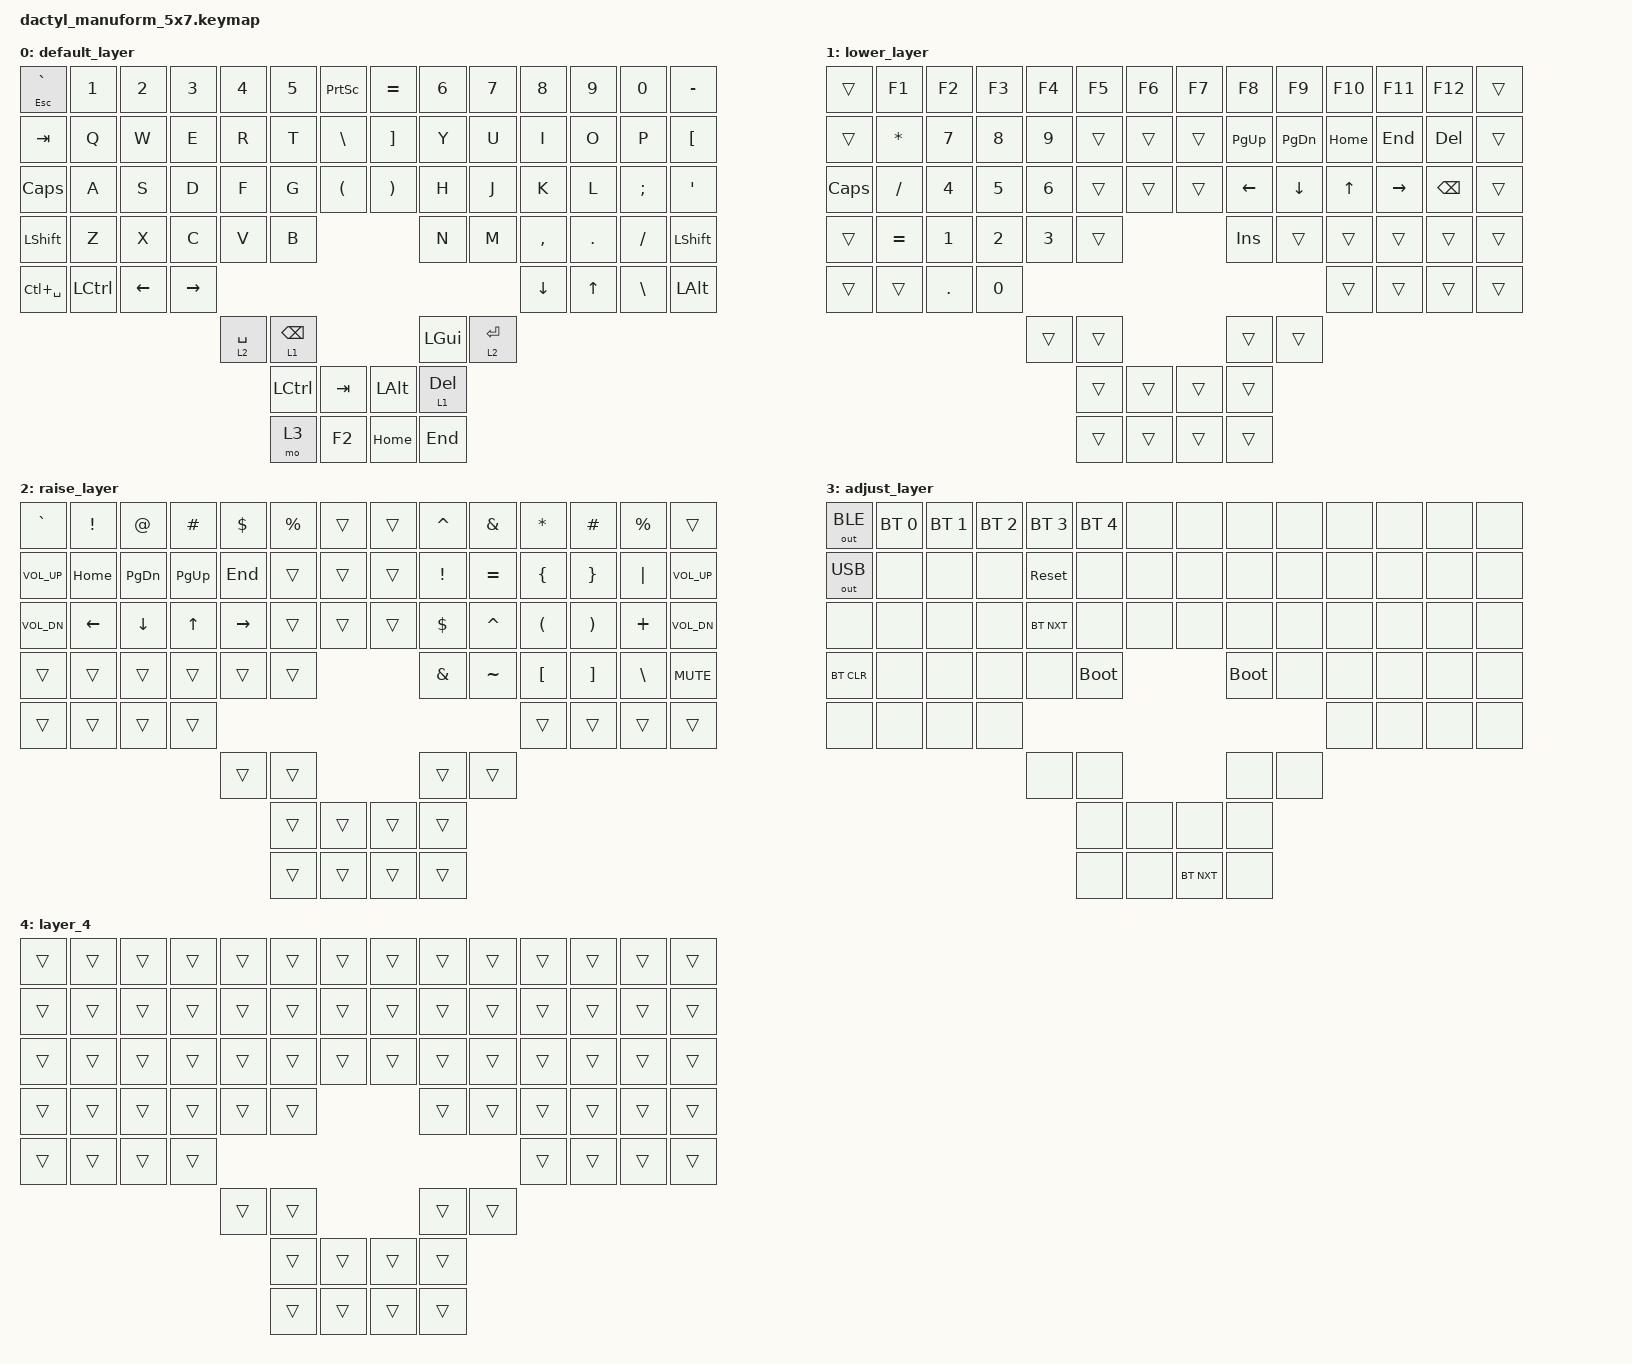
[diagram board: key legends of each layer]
#include <behaviors.dtsi>
#include <dt-bindings/zmk/bt.h>
#include <dt-bindings/zmk/keys.h>
#include <dt-bindings/zmk/outputs.h>

#define DEFAULT 0
#define LWR 1
#define RSE 2
#define ADJ 3

/ {
    behaviors {
        hr: hr {
            compatible = "zmk,behavior-hold-tap";
            label = "HR";
            bindings = <&kp>, <&kp>;

            #binding-cells = <2>;
            flavor = "balanced";
            quick-tap-ms = <0>;
            hold-trigger-key-positions = <29 30 31 32 40 39 38 37>;
            tapping-term-ms = <200>;
        };
    };

    keymap {
        compatible = "zmk,keymap";

        default_layer {
            bindings = <
&mt ESCAPE GRAVE  &kp N1     &kp N2          &kp N3           &kp N4       &kp N5           &kp PRINTSCREEN  &kp EQUAL     &kp N6        &kp N7       &kp N8          &kp N9        &kp N0         &kp MINUS
&kp TAB           &kp Q      &kp W           &kp E            &kp R        &kp T            &kp BACKSLASH    &kp RBKT      &kp Y         &kp U        &kp I           &kp O         &kp P          &kp LEFT_BRACKET
&kp CAPSLOCK      &kp A      &kp S           &kp D            &kp F        &kp G            &kp LPAR         &kp RPAR      &kp H         &kp J        &kp K           &kp L         &kp SEMICOLON  &kp SQT
&kp LEFT_SHIFT    &kp Z      &kp X           &kp C            &kp V        &kp B                                           &kp N         &kp M        &kp COMMA       &kp DOT       &kp FSLH       &kp LEFT_SHIFT
&kp LC(SPACE)     &kp LCTRL  &kp LEFT_ARROW  &kp RIGHT_ARROW                                                                                          &kp DOWN_ARROW  &kp UP_ARROW  &kp BACKSLASH  &kp LEFT_ALT
                                                              &lt 2 SPACE  &lt 1 BACKSPACE                                 &kp LEFT_GUI  &lt 2 ENTER
                                                                           &kp LCTRL        &kp TAB          &kp LEFT_ALT  &lt 1 DEL
                                                                           &mo 3            &kp F2           &kp HOME      &kp END
            >;
        };

        lower_layer {
            bindings = <
&trans    &kp F1        &kp F2        &kp F3        &kp F4        &kp F5  &kp F6  &kp F7  &kp F8     &kp F9         &kp F10   &kp F11    &kp F12   &trans
&trans    &kp ASTERISK  &kp NUMBER_7  &kp NUMBER_8  &kp NUMBER_9  &trans  &trans  &trans  &kp PG_UP  &kp PAGE_DOWN  &kp HOME  &kp END    &kp DEL   &trans
&kp CAPS  &kp SLASH     &kp NUMBER_4  &kp NUMBER_5  &kp NUMBER_6  &trans  &trans  &trans  &kp LEFT   &kp DOWN       &kp UP    &kp RIGHT  &kp BSPC  &trans
&trans    &kp EQUAL     &kp NUMBER_1  &kp NUMBER_2  &kp NUMBER_3  &trans                  &kp INS    &trans         &trans    &trans     &trans    &trans
&trans    &trans        &kp DOT       &kp N0                                                                        &trans    &trans     &trans    &trans
                                                    &trans        &trans                  &trans     &trans
                                                                  &trans  &trans  &trans  &trans
                                                                  &trans  &trans  &trans  &trans
            >;
        };

        raise_layer {
            bindings = <
&kp GRAVE     &kp EXCL  &kp AT     &kp HASH   &kp DLLR   &kp PRCNT  &trans  &trans  &kp CARET        &kp AMPS   &kp ASTRK             &kp HASH               &kp PERCENT    &trans
&kp K_VOL_UP  &kp HOME  &kp PG_DN  &kp PG_UP  &kp END    &trans     &trans  &trans  &kp EXCLAMATION  &kp EQUAL  &kp LEFT_BRACE        &kp RIGHT_BRACE        &kp PIPE       &kp K_VOL_UP
&kp K_VOL_DN  &kp LEFT  &kp DOWN   &kp UP     &kp RIGHT  &trans     &trans  &trans  &kp DOLLAR       &kp CARET  &kp LEFT_PARENTHESIS  &kp RIGHT_PARENTHESIS  &kp PLUS       &kp K_VOL_DN
&trans        &trans    &trans     &trans     &trans     &trans                     &kp AMPERSAND    &kp TILDE  &kp LEFT_BRACKET      &kp RIGHT_BRACKET      &kp BACKSLASH  &kp K_MUTE
&trans        &trans    &trans     &trans                                                                       &trans                &trans                 &trans         &trans
                                              &trans     &trans                     &trans           &trans
                                                         &trans     &trans  &trans  &trans
                                                         &trans     &trans  &trans  &trans
            >;
        };

        adjust_layer {
            bindings = <
&out OUT_BLE  &bt BT_SEL 0  &bt BT_SEL 1  &bt BT_SEL 2  &bt BT_SEL 3  &bt BT_SEL 4  &none  &none       &none        &none  &none  &none  &none  &none
&out OUT_USB  &none         &none         &none         &sys_reset    &none         &none  &none       &none        &none  &none  &none  &none  &none
&none         &none         &none         &none         &bt BT_NXT    &none         &none  &none       &none        &none  &none  &none  &none  &none
&bt BT_CLR    &none         &none         &none         &none         &bootloader                      &bootloader  &none  &none  &none  &none  &none
&none         &none         &none         &none                                                                            &none  &none  &none  &none
                                                        &none         &none                            &none        &none
                                                                      &none         &none  &none       &none
                                                                      &none         &none  &bt BT_NXT  &none
            >;
        };

        layer_4 {
            bindings = <
&trans  &trans  &trans  &trans  &trans  &trans  &trans  &trans  &trans  &trans  &trans  &trans  &trans  &trans
&trans  &trans  &trans  &trans  &trans  &trans  &trans  &trans  &trans  &trans  &trans  &trans  &trans  &trans
&trans  &trans  &trans  &trans  &trans  &trans  &trans  &trans  &trans  &trans  &trans  &trans  &trans  &trans
&trans  &trans  &trans  &trans  &trans  &trans                  &trans  &trans  &trans  &trans  &trans  &trans
&trans  &trans  &trans  &trans                                                  &trans  &trans  &trans  &trans
                                &trans  &trans                  &trans  &trans
                                        &trans  &trans  &trans  &trans
                                        &trans  &trans  &trans  &trans
            >;
        };
    };
};
